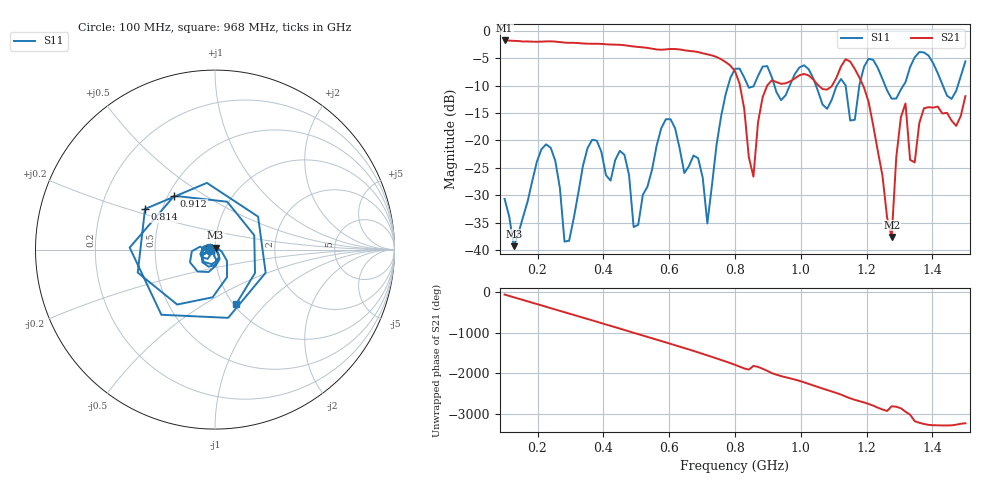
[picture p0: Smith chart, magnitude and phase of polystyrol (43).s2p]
! NanoVNA-App
! Date: 2025-09-26 09:42:13
! Start: 100MHz Stop: 1,5GHz Points: 101
! S-Parameter data: F S11 S21 S12 S22
# Hz S RI R 50
!  Frequency  S11_Real  S11_Imag  S21_Real  S21_Imag  S12_Real  S12_Imag  S22_Real  S22_Imag
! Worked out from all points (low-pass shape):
!   101 points, 100 MHz to 1.5 GHz, reference 50 ohm
!   highest |S21| = -1.79 dB at 100 MHz (marker M1); lowest = -37.6 dB at 1.276 GHz (marker M2)
!   |S21| within 3 dB of the highest: start of sweep to 743.5 MHz
!   lowest |S11| = -39.3 dB at 128 MHz (marker M3), VSWR 1.02, Z = 50.3 + j1.06 ohm
!   |S11| at or under -10 dB: start of sweep to 779.2 MHz; 1.046 GHz to 1.109 GHz (63.6 MHz wide, 5.9 % of centre); 1.256 GHz to 1.312 GHz (55.5 MHz wide, 4.32 % of centre)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
!   S12 and S22 are empty: the file has one direction only
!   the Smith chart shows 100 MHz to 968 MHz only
!   S11 on the Smith chart (normalised r, x): 100 MHz: 0.94, -0.01; 814 MHz: 0.40, +0.23; 912 MHz: 0.54, +0.38; 968 MHz: 1.03, -0.70
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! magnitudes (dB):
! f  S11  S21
! 100 MHz  -30.7  -1.8
! 128 MHz  -39.3  -1.9
! 212 MHz  -21.6  -2.0
! 254 MHz  -23.7  -2.0
! 282 MHz  -38.4  -2.2
! 338 MHz  -24.6  -2.3
! 464 MHz  -22.6  -2.7
! 492 MHz  -35.8  -2.9
! 576 MHz  -17.8  -3.5
! 688 MHz  -23.2  -3.9
! 716 MHz  -35.1  -4.3
! 800 MHz  -7.0  -7.4
! 814 MHz  -6.9  -9.7
! 856 MHz  -10.2  -26.6
! 912 MHz  -8.5  -9.0
! 968 MHz  -9.8  -9.2
! 1.038 GHz  -8.7  -8.9
! 1.178 GHz  -9.9  -8.6
! 1.276 GHz  -12.4  -37.6
! 1.318 GHz  -9.4  -13.3
! 1.346 GHz  -4.9  -24.0
! 1.5 GHz  -5.6  -11.9
